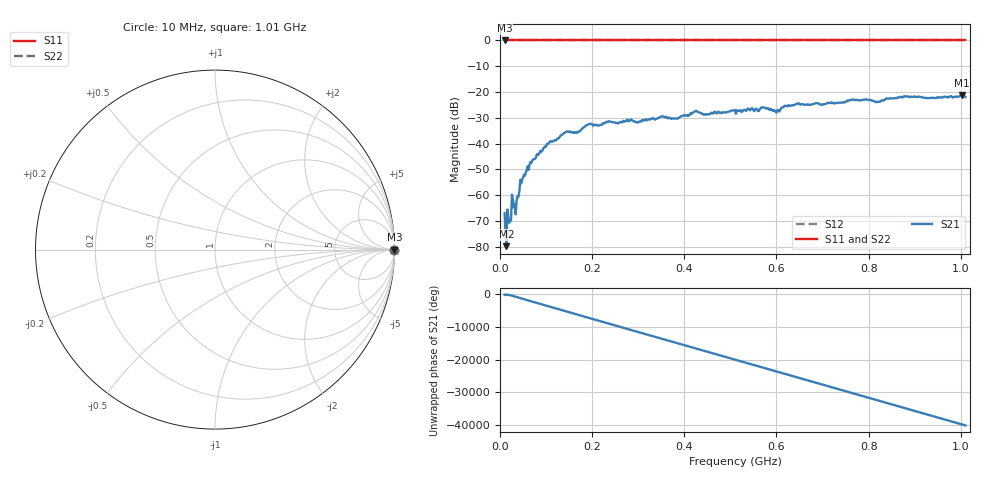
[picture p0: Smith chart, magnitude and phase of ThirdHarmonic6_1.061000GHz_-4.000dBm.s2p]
! 8/16/2025 9:29:54 AM
! C:\ANRITSUVNA\TEMP\TEMP.S2P
! CHANNEL.1
! TR.MEASUREMENT
! RAW.DATA
! RF.CORRECTION.OFF
! AVERAGING.OFF
! IF.BANDWIDTH: 5KHZ
! SWEEPTYPE:  FREQ.SWEEP(Linear)
! Reference Plane Port Info
! PORT:  PORT1  PORT2
! DISTANCE:  0  m  0  m
! TIME:  0  s  0  s
! PHASE.OFFSET:  0  deg.  0  deg.
! LOSS:  0  dB  0  dB
! REF.LOSS:  0  dB  0  dB
! REF.FREQ:  0  Hz  0  Hz
! Power Info
! POWER:  -20  dBm  -20  dBm
! EFF.POWER:  -20  dBm  -20  dBm
! SOURCE.ATTEN:  0  dB  0  dB
! TEST.ATTEN:  0  dB  0  dB
# GHZ S RI R 50.0
! FREQ.GHZ  S11RE  S11IM  S21RE  S21IM  S12RE  S12IM  S22RE  S22IM
!; PortSelection: Port_12
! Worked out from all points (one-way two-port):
!   501 points, 10 MHz to 1.01 GHz, reference 50 ohm
!   highest |S21| = -21.23 dB at 1.002 GHz (marker M1); lowest = -79.7 dB at 14 MHz (marker M2)
!   lowest |S11| = 0.0 dB at 10 MHz (marker M3)
!   |S11| at or under -10 dB: nowhere
!   |S22| runs from 0.0 to 0.0 dB; largest |S21 - S12| = 1.1
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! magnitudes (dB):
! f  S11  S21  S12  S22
! 10 MHz  0.0  -67.0  0.0  0.0
! 14 MHz  0.0  -79.7  0.0  0.0
! 18 MHz  0.0  -68.5  0.0  0.0
! 28 MHz  0.0  -61.7  0.0  0.0
! 38 MHz  0.0  -60.4  0.0  0.0
! 48 MHz  0.0  -54.1  0.0  0.0
! 68 MHz  0.0  -47.4  0.0  0.0
! 106 MHz  0.0  -39.8  0.0  0.0
! 142 MHz  0.0  -35.6  0.0  0.0
! 178 MHz  0.0  -34.2  0.0  0.0
! 194 MHz  0.0  -32.4  0.0  0.0
! 344 MHz  0.0  -30.0  0.0  0.0
! 384 MHz  0.0  -30.2  0.0  0.0
! 424 MHz  0.0  -27.4  0.0  0.0
! 510 MHz  0.0  -27.0  0.0  0.0
! 572 MHz  0.0  -26.0  0.0  0.0
! 602 MHz  0.0  -27.0  0.0  0.0
! 622 MHz  0.0  -25.5  0.0  0.0
! 678 MHz  0.0  -24.7  0.0  0.0
! 844 MHz  0.0  -22.5  0.0  0.0
! 1.002 GHz  0.0  -21.2  0.0  0.0
! 1.01 GHz  0.0  -21.9  0.0  0.0
